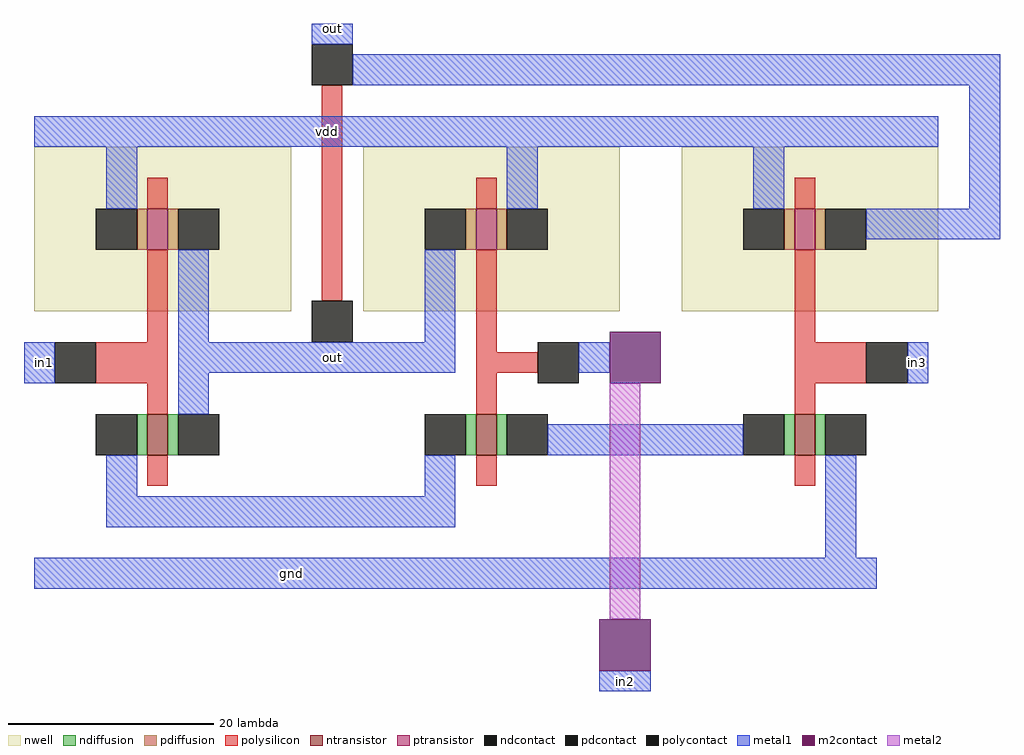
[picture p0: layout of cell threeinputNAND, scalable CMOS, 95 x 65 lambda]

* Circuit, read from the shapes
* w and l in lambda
.subckt threeinputNAND gnd in1 in2 in3 out vdd
M1 out in1 n1 VSUBS nfet w=4 l=2
M2 n2 in2 n1 VSUBS nfet w=4 l=2
M3 gnd in3 n2 VSUBS nfet w=4 l=2
M4 out in1 vdd n3 pfet w=4 l=2
M5 vdd in2 out n4 pfet w=4 l=2
M6 out in3 vdd n5 pfet w=4 l=2
.ends

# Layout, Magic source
magic
tech scmos
<< nwell >>
rect 0 0 25 16
rect 32 0 57 16
rect 63 0 88 16
<< ntransistor >>
rect 11 -14 13 -10
rect 43 -14 45 -10
rect 74 -14 76 -10
<< ptransistor >>
rect 11 6 13 10
rect 43 6 45 10
rect 74 6 76 10
<< ndiffusion >>
rect 10 -14 11 -10
rect 13 -14 14 -10
rect 42 -14 43 -10
rect 45 -14 46 -10
rect 73 -14 74 -10
rect 76 -14 77 -10
<< pdiffusion >>
rect 10 6 11 10
rect 13 6 14 10
rect 42 6 43 10
rect 45 6 46 10
rect 73 6 74 10
rect 76 6 77 10
<< ndcontact >>
rect 6 -14 10 -10
rect 14 -14 18 -10
rect 38 -14 42 -10
rect 46 -14 50 -10
rect 69 -14 73 -10
rect 77 -14 81 -10
<< pdcontact >>
rect 6 6 10 10
rect 14 6 18 10
rect 38 6 42 10
rect 46 6 50 10
rect 69 6 73 10
rect 77 6 81 10
<< polysilicon >>
rect 11 10 13 13
rect 11 -3 13 6
rect 28 1 30 22
rect 43 10 45 13
rect 74 10 76 13
rect 6 -7 13 -3
rect 11 -10 13 -7
rect 43 -4 45 6
rect 74 -3 76 6
rect 43 -6 49 -4
rect 43 -10 45 -6
rect 74 -7 81 -3
rect 74 -10 76 -7
rect 11 -17 13 -14
rect 43 -17 45 -14
rect 74 -17 76 -14
<< polycontact >>
rect 27 22 31 26
rect 27 -3 31 1
rect 2 -7 6 -3
rect 49 -7 53 -3
rect 81 -7 85 -3
<< metal1 >>
rect 27 26 31 28
rect 31 22 94 25
rect 0 16 88 19
rect 7 10 10 16
rect 46 10 49 16
rect 70 10 73 16
rect 91 10 94 22
rect 81 7 94 10
rect 14 -3 17 6
rect 38 -3 41 6
rect -1 -7 2 -3
rect 14 -6 41 -3
rect 14 -10 17 -6
rect 53 -6 56 -3
rect 85 -7 87 -3
rect 50 -14 69 -11
rect 7 -18 10 -14
rect 38 -18 41 -14
rect 7 -21 41 -18
rect 77 -24 80 -14
rect 0 -27 82 -24
rect 55 -37 60 -35
<< m2contact >>
rect 56 -7 61 -2
rect 55 -35 60 -30
<< metal2 >>
rect 56 -30 59 -7
<< labels >>
rlabel metal1 0 16 57 19 5 vdd
rlabel metal1 0 -7 2 -3 3 in1
rlabel metal1 0 -27 50 -24 1 gnd
rlabel metal1 17 -6 41 -3 1 out
rlabel metal1 85 -7 87 -3 1 in3
rlabel metal1 27 27 31 28 5 out
rlabel metal1 55 -37 60 -35 1 in2
<< end >>
